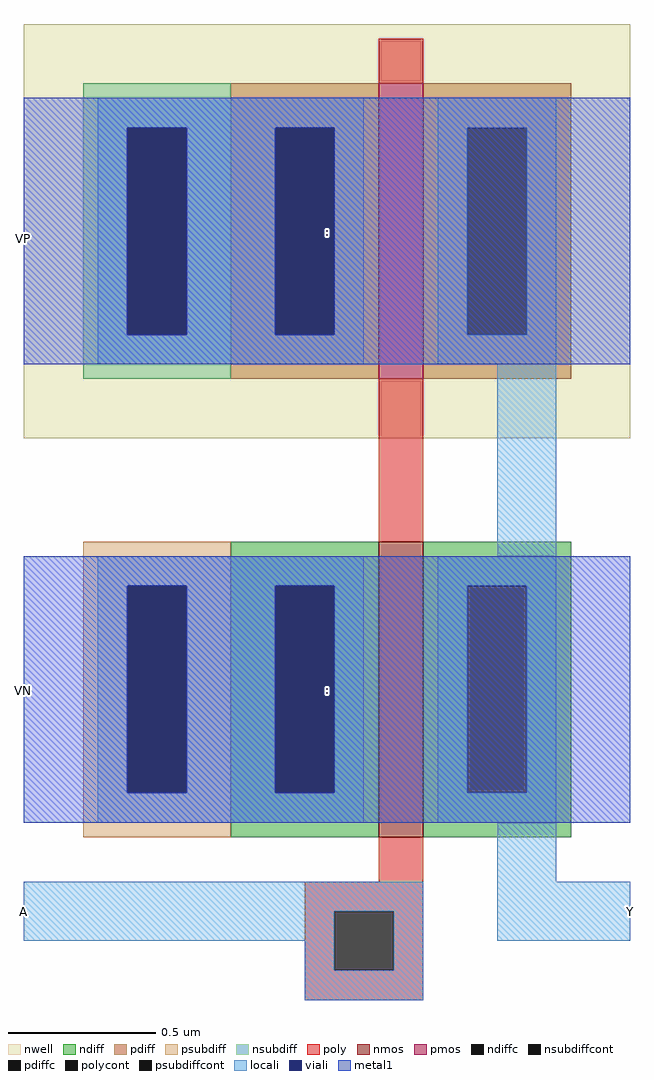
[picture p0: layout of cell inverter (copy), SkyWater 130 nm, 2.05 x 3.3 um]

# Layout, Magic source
magic
tech sky130A
<< nwell >>
rect -530 -10 -325 130
<< nmos >>
rect -410 -145 -395 -45
<< pmos >>
rect -410 10 -395 110
<< ndiff >>
rect -460 -60 -410 -45
rect -460 -130 -445 -60
rect -425 -130 -410 -60
rect -460 -145 -410 -130
rect -395 -60 -345 -45
rect -395 -130 -380 -60
rect -360 -130 -345 -60
rect -395 -145 -345 -130
<< pdiff >>
rect -460 95 -410 110
rect -460 25 -445 95
rect -425 25 -410 95
rect -460 10 -410 25
rect -395 95 -345 110
rect -395 25 -380 95
rect -360 25 -345 95
rect -395 10 -345 25
<< ndiffc >>
rect -445 -130 -425 -60
rect -380 -130 -360 -60
<< pdiffc >>
rect -445 25 -425 95
rect -380 25 -360 95
<< psubdiff >>
rect -510 -60 -460 -45
rect -510 -130 -495 -60
rect -475 -130 -460 -60
rect -510 -145 -460 -130
<< nsubdiff >>
rect -510 95 -460 110
rect -510 25 -495 95
rect -475 25 -460 95
rect -510 10 -460 25
<< psubdiffcont >>
rect -495 -130 -475 -60
<< nsubdiffcont >>
rect -495 25 -475 95
<< poly >>
rect -410 110 -395 125
rect -410 -45 -395 10
rect -410 -160 -395 -145
rect -435 -170 -395 -160
rect -435 -190 -425 -170
rect -405 -190 -395 -170
rect -435 -200 -395 -190
<< polycont >>
rect -425 -190 -405 -170
<< locali >>
rect -505 95 -415 105
rect -505 25 -495 95
rect -475 25 -445 95
rect -425 25 -415 95
rect -505 15 -415 25
rect -390 95 -350 105
rect -390 25 -380 95
rect -360 25 -350 95
rect -390 15 -350 25
rect -370 -50 -350 15
rect -505 -60 -415 -50
rect -505 -130 -495 -60
rect -475 -130 -445 -60
rect -425 -130 -415 -60
rect -505 -140 -415 -130
rect -390 -60 -350 -50
rect -390 -130 -380 -60
rect -360 -130 -350 -60
rect -390 -140 -350 -130
rect -370 -160 -350 -140
rect -530 -170 -395 -160
rect -530 -180 -425 -170
rect -435 -190 -425 -180
rect -405 -190 -395 -170
rect -370 -180 -325 -160
rect -435 -200 -395 -190
<< viali >>
rect -495 25 -475 95
rect -445 25 -425 95
rect -495 -130 -475 -60
rect -445 -130 -425 -60
<< metal1 >>
rect -530 95 -325 105
rect -530 25 -495 95
rect -475 25 -445 95
rect -425 25 -325 95
rect -530 15 -325 25
rect -530 -60 -325 -50
rect -530 -130 -495 -60
rect -475 -130 -445 -60
rect -425 -130 -325 -60
rect -530 -140 -325 -130
<< labels >>
rlabel space -510 -160 -345 -30 1 :
rlabel nwell -510 -5 -345 125 1 :
rlabel locali -530 -170 -530 -170 7 A
port 1 w
rlabel locali -325 -170 -325 -170 3 Y
port 2 e
rlabel metal1 -530 -96 -530 -95 7 VN
port 4 w
rlabel metal1 -530 57 -530 58 7 VP
port 3 w
<< end >>
